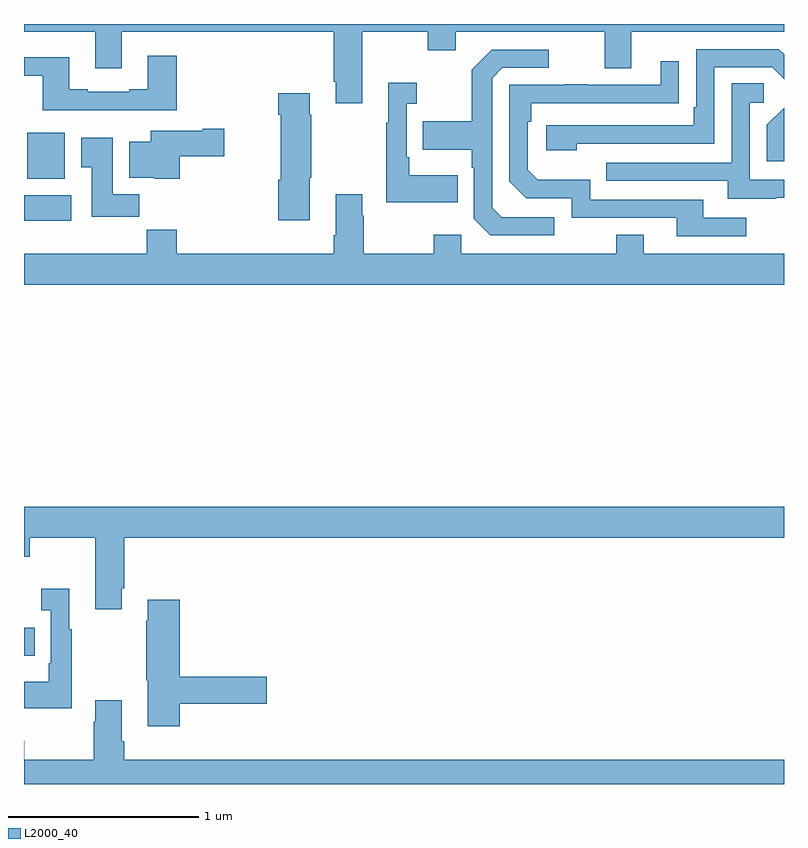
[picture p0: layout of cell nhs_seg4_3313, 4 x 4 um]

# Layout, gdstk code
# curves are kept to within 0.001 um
import gdstk
lib = gdstk.Library(unit=1e-6, precision=1e-09)
def R(c, l, rs):  # rectangles x0, y0, x1, y1
    for r in rs: c.add(gdstk.rectangle(r[:2], r[2:], *l))
def P(c, l, *ps):  # polygons
    for p in ps: c.add(gdstk.Polygon(p, *l))
L2000_40 = (2000, 40)

nhs_seg4_3313 = lib.new_cell('nhs_seg4_3313')
R(nhs_seg4_3313, L2000_40, [(287,753.575,287.057,753.723), (287,755.864,287.248,755.998), (287.018,756.086,287.215,756.328)])
P(nhs_seg4_3313, L2000_40, [(288.781,756.86),(289.126,756.86),(289.126,756.761),(289.273,756.761),(289.273,756.86),(290.057,756.86),(290.057,756.666),(290.197,756.666),(290.197,756.86),(291,756.86),(291,756.9),(287,756.9),(287,756.86),(287.375,756.86),(287.375,756.666),(287.515,756.666),(287.515,756.86),(288.629,756.86),(288.629,756.595),(288.641,756.595),(288.641,756.483),(288.781,756.483)],
  [(289.91,756.27),(290.634,756.27),(290.634,756.672),(290.937,756.672),(291,756.609),(291,756.741),(290.973,756.768),(290.538,756.768),(290.538,756.463),(290.525,756.463),(290.525,756.366),(289.749,756.366),(289.749,756.236),(289.91,756.236)],
  [(289.792,755.883),(289.515,755.883),(289.464,755.934),(289.464,756.615),(289.518,756.669),(289.762,756.669),(289.762,756.765),(289.461,756.765),(289.356,756.659),(289.356,756.387),(289.099,756.387),(289.099,756.239),(289.356,756.239),(289.356,756.143),(289.368,756.143),(289.368,755.874),(289.455,755.787),(289.792,755.787)],
  [(287.804,756.733),(287.651,756.733),(287.651,756.556),(287.555,756.556),(287.555,756.543),(287.335,756.543),(287.335,756.556),(287.239,756.556),(287.239,756.724),(287,756.724),(287,756.627),(287.099,756.627),(287.099,756.446),(287.804,756.446)],
  [(290.8,755.88),(290.575,755.88),(290.575,755.976),(289.98,755.976),(289.98,756.079),(289.703,756.079),(289.65,756.132),(289.65,756.386),(289.67,756.386),(289.67,756.483),(290.447,756.484),(290.447,756.703),(290.351,756.703),(290.351,756.579),(289.961,756.579),(289.961,756.584),(289.849,756.584),(289.849,756.579),(289.554,756.579),(289.554,756.072),(289.644,755.982),(289.884,755.982),(289.884,755.88),(290.435,755.88),(290.435,755.784),(290.8,755.784)],
  [(289.283,756.103),(289.027,756.103),(289.027,756.199),(289.014,756.199),(289.014,756.479),(289.066,756.479),(289.066,756.592),(288.917,756.592),(288.917,756.379),(288.906,756.379),(288.906,755.963),(289.283,755.963)],
  [(290.959,755.985),(291,755.985),(291,756.081),(290.82,756.081),(290.82,756.486),(290.893,756.486),(290.893,756.587),(290.724,756.587),(290.724,756.171),(290.065,756.171),(290.065,756.075),(290.705,756.075),(290.705,755.981),(290.959,755.981)],
  [(288.505,756.091),(288.513,756.091),(288.513,756.422),(288.505,756.422),(288.505,756.535),(288.338,756.535),(288.338,756.422),(288.35,756.422),(288.35,756.08),(288.338,756.08),(288.338,755.868),(288.505,755.868)],
  [(291,756.46),(290.91,756.37),(290.91,756.177),(291,756.177)],
  [(287.819,756.203),(288.055,756.203),(288.055,756.35),(287.942,756.35),(287.942,756.337),(287.666,756.337),(287.666,756.28),(287.555,756.28),(287.555,756.092),(287.688,756.092),(287.688,756.086),(287.819,756.086)],
  [(287.606,756.004),(287.467,756.004),(287.467,756.301),(287.3,756.301),(287.3,756.145),(287.357,756.145),(287.357,755.886),(287.606,755.886)],
  [(289.156,755.791),(289.156,755.692),(288.789,755.692),(288.789,755.891),(288.781,755.891),(288.781,756.004),(288.641,756.004),(288.641,755.788),(288.629,755.788),(288.629,755.692),(287.804,755.692),(287.804,755.816),(287.647,755.816),(287.647,755.692),(287,755.692),(287,755.528),(291,755.528),(291,755.692),(290.263,755.692),(290.263,755.791),(290.116,755.791),(290.116,755.692),(289.302,755.692),(289.302,755.791)],
  [(287.515,753.931),(287.528,753.931),(287.528,754.196),(291,754.196),(291,754.36),(287,754.36),(287,754.097),(287.031,754.097),(287.031,754.196),(287.375,754.196),(287.375,753.819),(287.515,753.819)],
  [(287.251,753.715),(287.239,753.715),(287.239,753.928),(287.091,753.928),(287.091,753.815),(287.142,753.815),(287.142,753.535),(287.13,753.535),(287.13,753.439),(287,753.439),(287,753.299),(287.251,753.299)],
  [(287.819,753.322),(288.277,753.322),(288.277,753.464),(287.819,753.464),(287.819,753.871),(287.651,753.871),(287.651,753.758),(287.644,753.758),(287.644,753.447),(287.651,753.447),(287.651,753.204),(287.819,753.204)],
  [(291,753.028),(287.528,753.028),(287.528,753.124),(287.515,753.124),(287.515,753.34),(287.375,753.34),(287.375,753.227),(287.368,753.227),(287.368,753.028),(287.001,753.028),(287.001,753.127),(287,753.127),(287,752.9),(291,752.9)])

lib.write_gds('nhs_seg4_3313.gds')
